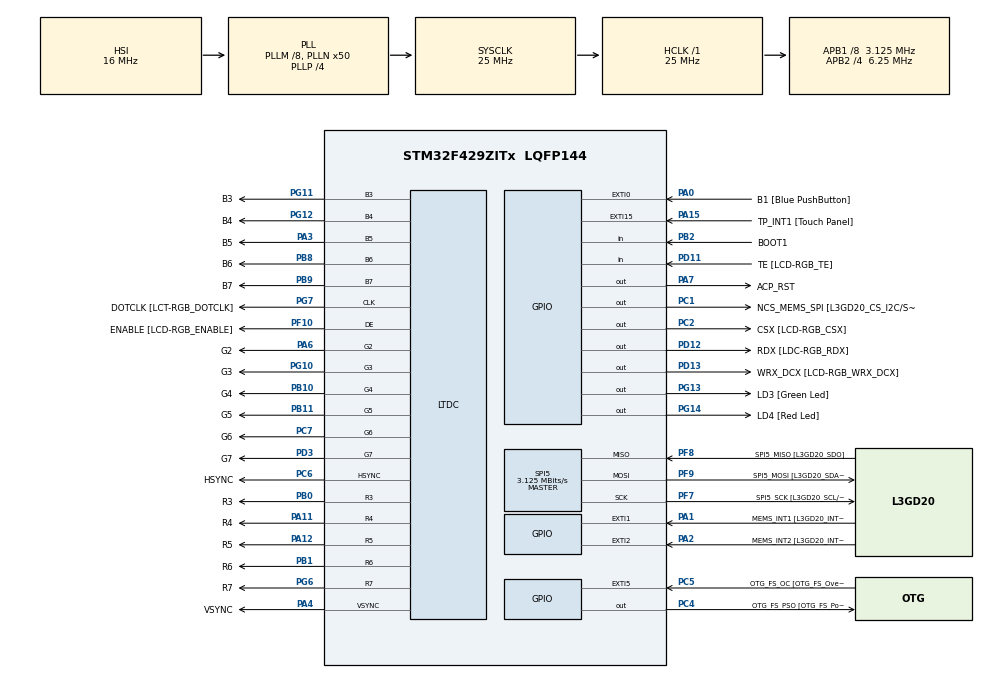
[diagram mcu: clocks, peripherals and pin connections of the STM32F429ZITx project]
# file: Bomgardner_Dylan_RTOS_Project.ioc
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FREERTOS.Tasks01=defaultTask,24,128,StartDefaultTask,Default,NULL,Dynamic,NULL,NULL
FREERTOS.configUSE_NEWLIB_REENTRANT=1
Mcu.Family=STM32F4
Mcu.Name=STM32F429ZITx
Mcu.Package=LQFP144
NVIC.HASH_RNG_IRQn=true\:5\:0\:false\:false\:true\:true\:true\:true\:true
NVIC.PriorityGroup=NVIC_PRIORITYGROUP_4
NVIC.TIM1_TRG_COM_TIM11_IRQn=true\:5\:0\:false\:false\:true\:true\:true\:true\:true
PA0/WKUP.GPIO_Label=B1 [Blue PushButton]
PA0/WKUP.GPIO_ModeDefaultEXTI=GPIO_MODE_IT_RISING_FALLING
PA0/WKUP.GPIO_PuPd=GPIO_NOPULL
PA0/WKUP.Signal=GPXTI0
PA1.GPIO_Label=MEMS_INT1 [L3GD20_INT1]
PA1.GPIO_ModeDefaultEXTI=GPIO_MODE_EVT_RISING
PA1.GPIO_PuPd=GPIO_NOPULL
PA1.Signal=GPXTI1
PA10.GPIO_Label=STLINK_TX [STM32F103CBT6_PA2]
PA10.Signal=USART1_RX
PA11.GPIO_Label=R4
PA11.GPIO_Mode=GPIO_MODE_AF_PP
PA11.GPIO_PuPd=GPIO_NOPULL
PA11.GPIO_Speed=GPIO_SPEED_FREQ_LOW
PA11.Mode=RGB565
PA11.Signal=LTDC_R4
PA12.GPIO_Label=R5
PA12.GPIO_Mode=GPIO_MODE_AF_PP
PA12.GPIO_PuPd=GPIO_NOPULL
PA12.GPIO_Speed=GPIO_SPEED_FREQ_LOW
PA12.Mode=RGB565
PA12.Signal=LTDC_R5
PA13.GPIO_Label=SWDIO
PA13.Signal=SYS_JTMS-SWDIO
PA14.GPIO_Label=SWCLK
PA14.Signal=SYS_JTCK-SWCLK
PA15.GPIO_Label=TP_INT1 [Touch Panel]
PA15.GPIO_ModeDefaultEXTI=GPIO_MODE_EVT_RISING
PA15.GPIO_PuPd=GPIO_NOPULL
PA15.Signal=GPXTI15
PA2.GPIO_Label=MEMS_INT2 [L3GD20_INT2]
PA2.GPIO_ModeDefaultEXTI=GPIO_MODE_EVT_RISING
PA2.GPIO_PuPd=GPIO_NOPULL
PA2.Signal=GPXTI2
PA3.GPIO_Label=B5
PA3.GPIO_Mode=GPIO_MODE_AF_PP
PA3.GPIO_PuPd=GPIO_NOPULL
PA3.GPIO_Speed=GPIO_SPEED_FREQ_LOW
PA3.Mode=RGB565
PA3.Signal=LTDC_B5
PA4.GPIO_Label=VSYNC
PA4.GPIO_Mode=GPIO_MODE_AF_PP
PA4.GPIO_PuPd=GPIO_NOPULL
PA4.GPIO_Speed=GPIO_SPEED_FREQ_LOW
PA4.Mode=RGB565
PA4.Signal=LTDC_VSYNC
PA6.GPIO_Label=G2
PA6.GPIO_Mode=GPIO_MODE_AF_PP
PA6.GPIO_PuPd=GPIO_NOPULL
PA6.GPIO_Speed=GPIO_SPEED_FREQ_LOW
PA6.Mode=RGB565
PA6.Signal=LTDC_G2
PA7.GPIO_Label=ACP_RST
PA7.GPIO_Mode=GPIO_MODE_OUTPUT_PP
PA7.GPIO_PuPd=GPIO_NOPULL
PA7.GPIO_Speed=GPIO_SPEED_FREQ_LOW
PA7.Signal=GPIO_Output
PA8.GPIO_Label=I2C3_SCL [ACP/RF_SCL]
PA8.GPIO_Mode=GPIO_MODE_AF_OD
PA8.GPIO_PuPd=GPIO_NOPULL
PA8.GPIO_Speed=GPIO_SPEED_FREQ_LOW
PA8.Signal=I2C3_SCL
PA9.GPIO_Label=STLINK_RX [STM32F103CBT6_PA3]
PA9.Signal=USART1_TX
PB0.GPIO_Label=R3
PB0.GPIO_Mode=GPIO_MODE_AF_PP
PB0.GPIO_PuPd=GPIO_NOPULL
PB0.GPIO_Speed=GPIO_SPEED_FREQ_LOW
PB0.Mode=RGB565
PB0.Signal=LTDC_R3
PB1.GPIO_Label=R6
PB1.GPIO_Mode=GPIO_MODE_AF_PP
PB1.GPIO_PuPd=GPIO_NOPULL
PB1.GPIO_Speed=GPIO_SPEED_FREQ_LOW
PB1.Mode=RGB565
PB1.Signal=LTDC_R6
PB10.GPIO_Label=G4
PB10.GPIO_Mode=GPIO_MODE_AF_PP
PB10.GPIO_PuPd=GPIO_NOPULL
PB10.GPIO_Speed=GPIO_SPEED_FREQ_LOW
PB10.Mode=RGB565
PB10.Signal=LTDC_G4
PB11.GPIO_Label=G5
PB11.GPIO_Mode=GPIO_MODE_AF_PP
PB11.GPIO_PuPd=GPIO_NOPULL
PB11.GPIO_Speed=GPIO_SPEED_FREQ_LOW
PB11.Mode=RGB565
PB11.Signal=LTDC_G5
PB12.GPIO_Label=OTG_HS_ID
PB12.GPIO_Mode=GPIO_MODE_AF_PP
PB12.GPIO_PuPd=GPIO_NOPULL
PB12.GPIO_Speed=GPIO_SPEED_FREQ_LOW
PB12.Signal=USB_OTG_HS_ID
PB13.GPIO_Label=VBUS_HS
PB13.GPIO_Mode=GPIO_MODE_INPUT
PB13.GPIO_PuPd=GPIO_NOPULL
PB13.Signal=USB_OTG_HS_VBUS
PB14.GPIO_Label=OTG_HS_DM
PB14.GPIO_Mode=GPIO_MODE_AF_PP
PB14.GPIO_PuPd=GPIO_NOPULL
PB14.GPIO_Speed=GPIO_SPEED_FREQ_LOW
PB14.Signal=USB_OTG_HS_DM
PB15.GPIO_Label=OTG_HS_DP
PB15.GPIO_Mode=GPIO_MODE_AF_PP
PB15.GPIO_PuPd=GPIO_NOPULL
PB15.GPIO_Speed=GPIO_SPEED_FREQ_LOW
PB15.Signal=USB_OTG_HS_DP
PB2/BOOT1.GPIO_Label=BOOT1
PB2/BOOT1.GPIO_Mode=GPIO_MODE_INPUT
PB2/BOOT1.GPIO_PuPd=GPIO_NOPULL
PB2/BOOT1.Signal=GPIO_Input
PB5.GPIO_Label=SDCKE1
PB5.GPIO_Mode=GPIO_MODE_AF_PP
PB5.GPIO_PuPd=GPIO_NOPULL
PB5.GPIO_Speed=GPIO_SPEED_FREQ_VERY_HIGH
PB5.Signal=FMC_SDCKE1
PB6.GPIO_Label=SDNE1 [SDRAM_CS]
PB6.GPIO_Mode=GPIO_MODE_AF_PP
PB6.GPIO_PuPd=GPIO_NOPULL
PB6.GPIO_Speed=GPIO_SPEED_FREQ_VERY_HIGH
PB6.Signal=FMC_SDNE1
PB8.GPIO_Label=B6
PB8.GPIO_Mode=GPIO_MODE_AF_PP
PB8.GPIO_PuPd=GPIO_NOPULL
PB8.GPIO_Speed=GPIO_SPEED_FREQ_LOW
PB8.Mode=RGB565
PB8.Signal=LTDC_B6
PB9.GPIO_Label=B7
PB9.GPIO_Mode=GPIO_MODE_AF_PP
PB9.GPIO_PuPd=GPIO_NOPULL
PB9.GPIO_Speed=GPIO_SPEED_FREQ_LOW
PB9.Mode=RGB565
PB9.Signal=LTDC_B7
PC0.GPIO_Label=SDNWE
PC0.GPIO_Mode=GPIO_MODE_AF_PP
PC0.GPIO_PuPd=GPIO_NOPULL
PC0.GPIO_Speed=GPIO_SPEED_FREQ_VERY_HIGH
PC0.Signal=FMC_SDNWE
PC1.GPIO_Label=NCS_MEMS_SPI [L3GD20_CS_I2C/SPI]
PC1.GPIO_Mode=GPIO_MODE_OUTPUT_PP
PC1.GPIO_PuPd=GPIO_NOPULL
PC1.GPIO_Speed=GPIO_SPEED_FREQ_LOW
PC1.Signal=GPIO_Output
PC10.GPIO_Label=R2
PC10.GPIO_Mode=GPIO_MODE_AF_PP
PC10.GPIO_PuPd=GPIO_NOPULL
PC10.GPIO_Speed=GPIO_SPEED_FREQ_LOW
PC10.Signal=LTDC_R2
PC14/OSC32_IN.GPIO_Label=PC14-OSC32_IN
PC14/OSC32_IN.Signal=RCC_OSC32_IN
PC15/OSC32_OUT.GPIO_Label=PC15-OSC32_OUT
PC15/OSC32_OUT.Signal=RCC_OSC32_OUT
PC2.GPIO_Label=CSX [LCD-RGB_CSX]
PC2.GPIO_Mode=GPIO_MODE_OUTPUT_PP
PC2.GPIO_PuPd=GPIO_NOPULL
PC2.GPIO_Speed=GPIO_SPEED_FREQ_LOW
PC2.Signal=GPIO_Output
PC4.GPIO_Label=OTG_FS_PSO [OTG_FS_PowerSwitchOn]
PC4.GPIO_Mode=GPIO_MODE_OUTPUT_PP
PC4.GPIO_PuPd=GPIO_NOPULL
PC4.GPIO_Speed=GPIO_SPEED_FREQ_LOW
PC4.Signal=GPIO_Output
PC5.GPIO_Label=OTG_FS_OC [OTG_FS_OverCurrent]
PC5.GPIO_ModeDefaultEXTI=GPIO_MODE_EVT_RISING
PC5.Signal=GPXTI5
PC6.GPIO_Label=HSYNC
PC6.GPIO_Mode=GPIO_MODE_AF_PP
PC6.GPIO_PuPd=GPIO_NOPULL
PC6.GPIO_Speed=GPIO_SPEED_FREQ_LOW
PC6.Mode=RGB565
PC6.Signal=LTDC_HSYNC
PC7.GPIO_Label=G6
PC7.GPIO_Mode=GPIO_MODE_AF_PP
PC7.GPIO_PuPd=GPIO_NOPULL
PC7.GPIO_Speed=GPIO_SPEED_FREQ_LOW
PC7.Mode=RGB565
PC7.Signal=LTDC_G6
PC9.GPIO_Label=I2C3_SDA [ACP/RF_SDA]
PC9.GPIO_Mode=GPIO_MODE_AF_OD
PC9.GPIO_PuPd=GPIO_NOPULL
PC9.GPIO_Speed=GPIO_SPEED_FREQ_LOW
PC9.Signal=I2C3_SDA
PD0.GPIO_Label=D2
PD0.GPIO_Mode=GPIO_MODE_AF_PP
PD0.GPIO_PuPd=GPIO_NOPULL
PD0.GPIO_Speed=GPIO_SPEED_FREQ_VERY_HIGH
PD0.Signal=FMC_D2_DA2
PD1.GPIO_Label=D3
PD1.GPIO_Mode=GPIO_MODE_AF_PP
PD1.GPIO_PuPd=GPIO_NOPULL
PD1.GPIO_Speed=GPIO_SPEED_FREQ_VERY_HIGH
PD1.Signal=FMC_D3_DA3
PD10.GPIO_Label=D15
PD10.GPIO_Mode=GPIO_MODE_AF_PP
PD10.GPIO_PuPd=GPIO_NOPULL
PD10.GPIO_Speed=GPIO_SPEED_FREQ_VERY_HIGH
PD10.Signal=FMC_D15_DA15
PD11.GPIO_Label=TE [LCD-RGB_TE]
PD11.GPIO_Mode=GPIO_MODE_INPUT
PD11.GPIO_PuPd=GPIO_NOPULL
PD11.Signal=GPIO_Input
PD12.GPIO_Label=RDX [LDC-RGB_RDX]
PD12.GPIO_Mode=GPIO_MODE_OUTPUT_PP
PD12.GPIO_PuPd=GPIO_NOPULL
PD12.GPIO_Speed=GPIO_SPEED_FREQ_LOW
PD12.Signal=GPIO_Output
PD13.GPIO_Label=WRX_DCX [LCD-RGB_WRX_DCX]
PD13.GPIO_Mode=GPIO_MODE_OUTPUT_PP
PD13.GPIO_PuPd=GPIO_NOPULL
PD13.GPIO_Speed=GPIO_SPEED_FREQ_LOW
PD13.Signal=GPIO_Output
PD14.GPIO_Label=D0
PD14.GPIO_Mode=GPIO_MODE_AF_PP
PD14.GPIO_PuPd=GPIO_NOPULL
PD14.GPIO_Speed=GPIO_SPEED_FREQ_VERY_HIGH
PD14.Signal=FMC_D0_DA0
PD15.GPIO_Label=D1
PD15.GPIO_Mode=GPIO_MODE_AF_PP
PD15.GPIO_PuPd=GPIO_NOPULL
PD15.GPIO_Speed=GPIO_SPEED_FREQ_VERY_HIGH
PD15.Signal=FMC_D1_DA1
PD3.GPIO_Label=G7
PD3.GPIO_Mode=GPIO_MODE_AF_PP
PD3.GPIO_PuPd=GPIO_NOPULL
PD3.GPIO_Speed=GPIO_SPEED_FREQ_LOW
PD3.Mode=RGB565
PD3.Signal=LTDC_G7
PD6.GPIO_Label=B2
PD6.GPIO_Mode=GPIO_MODE_AF_PP
PD6.GPIO_PuPd=GPIO_NOPULL
PD6.GPIO_Speed=GPIO_SPEED_FREQ_LOW
PD6.Signal=LTDC_B2
PD8.GPIO_Label=D13
PD8.GPIO_Mode=GPIO_MODE_AF_PP
PD8.GPIO_PuPd=GPIO_NOPULL
PD8.GPIO_Speed=GPIO_SPEED_FREQ_VERY_HIGH
PD8.Signal=FMC_D13_DA13
PD9.GPIO_Label=D14
PD9.GPIO_Mode=GPIO_MODE_AF_PP
PD9.GPIO_PuPd=GPIO_NOPULL
PD9.GPIO_Speed=GPIO_SPEED_FREQ_VERY_HIGH
PD9.Signal=FMC_D14_DA14
PE0.GPIO_Label=NBL0 [SDRAM_LDQM]
PE0.GPIO_Mode=GPIO_MODE_AF_PP
PE0.GPIO_PuPd=GPIO_NOPULL
PE0.GPIO_Speed=GPIO_SPEED_FREQ_VERY_HIGH
PE0.Signal=FMC_NBL0
PE1.GPIO_Label=NBL1 [SDRAM_UDQM]
PE1.GPIO_Mode=GPIO_MODE_AF_PP
PE1.GPIO_PuPd=GPIO_NOPULL
PE1.GPIO_Speed=GPIO_SPEED_FREQ_VERY_HIGH
PE1.Signal=FMC_NBL1
PE10.GPIO_Label=D7
PE10.GPIO_Mode=GPIO_MODE_AF_PP
PE10.GPIO_PuPd=GPIO_NOPULL
PE10.GPIO_Speed=GPIO_SPEED_FREQ_VERY_HIGH
PE10.Signal=FMC_D7_DA7
PE11.GPIO_Label=D8
PE11.GPIO_Mode=GPIO_MODE_AF_PP
PE11.GPIO_PuPd=GPIO_NOPULL
PE11.GPIO_Speed=GPIO_SPEED_FREQ_VERY_HIGH
PE11.Signal=FMC_D8_DA8
PE12.GPIO_Label=D9
PE12.GPIO_Mode=GPIO_MODE_AF_PP
PE12.GPIO_PuPd=GPIO_NOPULL
PE12.GPIO_Speed=GPIO_SPEED_FREQ_VERY_HIGH
PE12.Signal=FMC_D9_DA9
PE13.GPIO_Label=D10
PE13.GPIO_Mode=GPIO_MODE_AF_PP
PE13.GPIO_PuPd=GPIO_NOPULL
PE13.GPIO_Speed=GPIO_SPEED_FREQ_VERY_HIGH
PE13.Signal=FMC_D10_DA10
PE14.GPIO_Label=D11
PE14.GPIO_Mode=GPIO_MODE_AF_PP
PE14.GPIO_PuPd=GPIO_NOPULL
PE14.GPIO_Speed=GPIO_SPEED_FREQ_VERY_HIGH
PE14.Signal=FMC_D11_DA11
PE15.GPIO_Label=D12
PE15.GPIO_Mode=GPIO_MODE_AF_PP
PE15.GPIO_PuPd=GPIO_NOPULL
PE15.GPIO_Speed=GPIO_SPEED_FREQ_VERY_HIGH
PE15.Signal=FMC_D12_DA12
PE7.GPIO_Label=D4
PE7.GPIO_Mode=GPIO_MODE_AF_PP
PE7.GPIO_PuPd=GPIO_NOPULL
PE7.GPIO_Speed=GPIO_SPEED_FREQ_VERY_HIGH
PE7.Signal=FMC_D4_DA4
PE8.GPIO_Label=D5
PE8.GPIO_Mode=GPIO_MODE_AF_PP
PE8.GPIO_PuPd=GPIO_NOPULL
PE8.GPIO_Speed=GPIO_SPEED_FREQ_VERY_HIGH
PE8.Signal=FMC_D5_DA5
PE9.GPIO_Label=D6
PE9.GPIO_Mode=GPIO_MODE_AF_PP
PE9.GPIO_PuPd=GPIO_NOPULL
PE9.GPIO_Speed=GPIO_SPEED_FREQ_VERY_HIGH
PE9.Signal=FMC_D6_DA6
PF0.GPIO_Label=A0
PF0.GPIO_Mode=GPIO_MODE_AF_PP
PF0.GPIO_PuPd=GPIO_NOPULL
PF0.GPIO_Speed=GPIO_SPEED_FREQ_VERY_HIGH
PF0.Signal=FMC_A0
PF1.GPIO_Label=A1
PF1.GPIO_Mode=GPIO_MODE_AF_PP
PF1.GPIO_PuPd=GPIO_NOPULL
PF1.GPIO_Speed=GPIO_SPEED_FREQ_VERY_HIGH
PF1.Signal=FMC_A1
PF10.GPIO_Label=ENABLE [LCD-RGB_ENABLE]
PF10.GPIO_Mode=GPIO_MODE_AF_PP
PF10.GPIO_PuPd=GPIO_NOPULL
PF10.GPIO_Speed=GPIO_SPEED_FREQ_LOW
PF10.Mode=RGB565
PF10.Signal=LTDC_DE
PF11.GPIO_Label=SDNRAS
PF11.GPIO_Mode=GPIO_MODE_AF_PP
PF11.GPIO_PuPd=GPIO_NOPULL
PF11.GPIO_Speed=GPIO_SPEED_FREQ_VERY_HIGH
PF11.Signal=FMC_SDNRAS
PF12.GPIO_Label=A6
PF12.GPIO_Mode=GPIO_MODE_AF_PP
PF12.GPIO_PuPd=GPIO_NOPULL
PF12.GPIO_Speed=GPIO_SPEED_FREQ_VERY_HIGH
PF12.Signal=FMC_A6
PF13.GPIO_Label=A7
PF13.GPIO_Mode=GPIO_MODE_AF_PP
PF13.GPIO_PuPd=GPIO_NOPULL
PF13.GPIO_Speed=GPIO_SPEED_FREQ_VERY_HIGH
PF13.Signal=FMC_A7
PF14.GPIO_Label=A8
PF14.GPIO_Mode=GPIO_MODE_AF_PP
PF14.GPIO_PuPd=GPIO_NOPULL
PF14.GPIO_Speed=GPIO_SPEED_FREQ_VERY_HIGH
PF14.Signal=FMC_A8
PF15.GPIO_Label=A9
PF15.GPIO_Mode=GPIO_MODE_AF_PP
PF15.GPIO_PuPd=GPIO_NOPULL
PF15.GPIO_Speed=GPIO_SPEED_FREQ_VERY_HIGH
PF15.Signal=FMC_A9
PF2.GPIO_Label=A2
PF2.GPIO_Mode=GPIO_MODE_AF_PP
PF2.GPIO_PuPd=GPIO_NOPULL
PF2.GPIO_Speed=GPIO_SPEED_FREQ_VERY_HIGH
PF2.Signal=FMC_A2
PF3.GPIO_Label=A3
PF3.GPIO_Mode=GPIO_MODE_AF_PP
PF3.GPIO_PuPd=GPIO_NOPULL
PF3.GPIO_Speed=GPIO_SPEED_FREQ_VERY_HIGH
PF3.Signal=FMC_A3
PF4.GPIO_Label=A4
PF4.GPIO_Mode=GPIO_MODE_AF_PP
PF4.GPIO_PuPd=GPIO_NOPULL
PF4.GPIO_Speed=GPIO_SPEED_FREQ_VERY_HIGH
PF4.Signal=FMC_A4
PF5.GPIO_Label=A5
PF5.GPIO_Mode=GPIO_MODE_AF_PP
PF5.GPIO_PuPd=GPIO_NOPULL
PF5.GPIO_Speed=GPIO_SPEED_FREQ_VERY_HIGH
PF5.Signal=FMC_A5
PF7.GPIO_Label=SPI5_SCK [L3GD20_SCL/SPC]
PF7.GPIO_Mode=GPIO_MODE_AF_PP
PF7.GPIO_PuPd=GPIO_NOPULL
PF7.GPIO_Speed=GPIO_SPEED_FREQ_LOW
PF7.Mode=Full_Duplex_Master
PF7.Signal=SPI5_SCK
PF8.GPIO_Label=SPI5_MISO [L3GD20_SDO]
PF8.GPIO_Mode=GPIO_MODE_AF_PP
PF8.GPIO_PuPd=GPIO_NOPULL
PF8.GPIO_Speed=GPIO_SPEED_FREQ_LOW
PF8.Mode=Full_Duplex_Master
PF8.Signal=SPI5_MISO
PF9.GPIO_Label=SPI5_MOSI [L3GD20_SDA/SDI/SDO]
PF9.GPIO_Mode=GPIO_MODE_AF_PP
PF9.GPIO_PuPd=GPIO_NOPULL
PF9.GPIO_Speed=GPIO_SPEED_FREQ_LOW
PF9.Mode=Full_Duplex_Master
PF9.Signal=SPI5_MOSI
PG0.GPIO_Label=A10
PG0.GPIO_Mode=GPIO_MODE_AF_PP
PG0.GPIO_PuPd=GPIO_NOPULL
PG0.GPIO_Speed=GPIO_SPEED_FREQ_VERY_HIGH
PG0.Signal=FMC_A10
PG1.GPIO_Label=A11
PG1.GPIO_Mode=GPIO_MODE_AF_PP
PG1.GPIO_PuPd=GPIO_NOPULL
PG1.GPIO_Speed=GPIO_SPEED_FREQ_VERY_HIGH
PG1.Signal=FMC_A11
PG10.GPIO_Label=G3
PG10.GPIO_Mode=GPIO_MODE_AF_PP
PG10.GPIO_PuPd=GPIO_NOPULL
PG10.GPIO_Speed=GPIO_SPEED_FREQ_LOW
PG10.Mode=RGB565
PG10.Signal=LTDC_G3
PG11.GPIO_Label=B3
PG11.GPIO_Mode=GPIO_MODE_AF_PP
PG11.GPIO_PuPd=GPIO_NOPULL
PG11.GPIO_Speed=GPIO_SPEED_FREQ_LOW
PG11.Mode=RGB565
PG11.Signal=LTDC_B3
PG12.GPIO_Label=B4
PG12.GPIO_Mode=GPIO_MODE_AF_PP
PG12.GPIO_PuPd=GPIO_NOPULL
PG12.GPIO_Speed=GPIO_SPEED_FREQ_LOW
PG12.Mode=RGB565
PG12.Signal=LTDC_B4
PG13.GPIO_Label=LD3 [Green Led]
PG13.GPIO_Mode=GPIO_MODE_OUTPUT_PP
PG13.GPIO_PuPd=GPIO_NOPULL
PG13.GPIO_Speed=GPIO_SPEED_FREQ_LOW
PG13.Signal=GPIO_Output
PG14.GPIO_Label=LD4 [Red Led]
PG14.GPIO_Mode=GPIO_MODE_OUTPUT_PP
PG14.GPIO_PuPd=GPIO_NOPULL
PG14.GPIO_Speed=GPIO_SPEED_FREQ_LOW
PG14.Signal=GPIO_Output
PG15.GPIO_Label=SDNCAS
PG15.GPIO_Mode=GPIO_MODE_AF_PP
PG15.GPIO_PuPd=GPIO_NOPULL
PG15.GPIO_Speed=GPIO_SPEED_FREQ_VERY_HIGH
PG15.Signal=FMC_SDNCAS
PG4.GPIO_Label=BA0
PG4.GPIO_Mode=GPIO_MODE_AF_PP
PG4.GPIO_PuPd=GPIO_NOPULL
PG4.GPIO_Speed=GPIO_SPEED_FREQ_VERY_HIGH
PG4.Signal=FMC_A14_BA0
PG5.GPIO_Label=BA1
PG5.GPIO_Mode=GPIO_MODE_AF_PP
PG5.GPIO_PuPd=GPIO_NOPULL
PG5.GPIO_Speed=GPIO_SPEED_FREQ_VERY_HIGH
PG5.Signal=FMC_A15_BA1
PG6.GPIO_Label=R7
PG6.GPIO_Mode=GPIO_MODE_AF_PP
PG6.GPIO_PuPd=GPIO_NOPULL
PG6.GPIO_Speed=GPIO_SPEED_FREQ_LOW
PG6.Mode=RGB565
PG6.Signal=LTDC_R7
PG7.GPIO_Label=DOTCLK [LCT-RGB_DOTCLK]
PG7.GPIO_Mode=GPIO_MODE_AF_PP
PG7.GPIO_PuPd=GPIO_NOPULL
PG7.GPIO_Speed=GPIO_SPEED_FREQ_LOW
PG7.Mode=RGB565
PG7.Signal=LTDC_CLK
PG8.GPIO_Label=SDCLK
PG8.GPIO_Mode=GPIO_MODE_AF_PP
PG8.GPIO_PuPd=GPIO_NOPULL
PG8.GPIO_Speed=GPIO_SPEED_FREQ_VERY_HIGH
PG8.Signal=FMC_SDCLK
PH0/OSC_IN.GPIO_Label=PH0-OSC_IN
PH0/OSC_IN.Signal=RCC_OSC_IN
PH1/OSC_OUT.GPIO_Label=PH1-OSC_OUT
PH1/OSC_OUT.Signal=RCC_OSC_OUT
ProjectManager.HeapSize=0x200
ProjectManager.StackSize=0x400
ProjectManager.TargetToolchain=STM32CubeIDE
RCC.48MHZClocksFreq_Value=14285714.285714285
RCC.AHBFreq_Value=25000000
RCC.APB1CLKDivider=RCC_HCLK_DIV8
RCC.APB1Freq_Value=3125000
RCC.APB1TimFreq_Value=6250000
RCC.APB2CLKDivider=RCC_HCLK_DIV4
RCC.APB2Freq_Value=6250000
RCC.APB2TimFreq_Value=12500000
RCC.CortexFreq_Value=25000000
RCC.HCLKFreq_Value=25000000
RCC.HSE_VALUE=8000000
RCC.HSI_VALUE=16000000
RCC.LSE_VALUE=32768
RCC.PLLM=8
RCC.PLLN=50
RCC.PLLP=RCC_PLLP_DIV4
RCC.PLLQ=7
RCC.PLLSAIN=50
RCC.SYSCLKFreq_VALUE=25000000
RCC.SYSCLKSource=RCC_SYSCLKSOURCE_PLLCLK
RCC.VCOOutputFreq_Value=100000000
SH.FMC_A0.0=FMC_A0
SH.FMC_A1.0=FMC_A1
SH.FMC_A10.0=FMC_A10
SH.FMC_A11.0=FMC_A11
SH.FMC_A14_BA0.0=FMC_BA0
SH.FMC_A15_BA1.0=FMC_BA1
SH.FMC_A2.0=FMC_A2
SH.FMC_A3.0=FMC_A3
SH.FMC_A4.0=FMC_A4
SH.FMC_A5.0=FMC_A5
SH.FMC_A6.0=FMC_A6
SH.FMC_A7.0=FMC_A7
SH.FMC_A8.0=FMC_A8
SH.FMC_A9.0=FMC_A9
SH.FMC_D0_DA0.0=FMC_D0
SH.FMC_D10_DA10.0=FMC_D10
SH.FMC_D11_DA11.0=FMC_D11
SH.FMC_D12_DA12.0=FMC_D12
SH.FMC_D13_DA13.0=FMC_D13
SH.FMC_D14_DA14.0=FMC_D14
SH.FMC_D15_DA15.0=FMC_D15
SH.FMC_D1_DA1.0=FMC_D1
SH.FMC_D2_DA2.0=FMC_D2
SH.FMC_D3_DA3.0=FMC_D3
SH.FMC_D4_DA4.0=FMC_D4
SH.FMC_D5_DA5.0=FMC_D5
SH.FMC_D6_DA6.0=FMC_D6
SH.FMC_D7_DA7.0=FMC_D7
SH.FMC_D8_DA8.0=FMC_D8
SH.FMC_D9_DA9.0=FMC_D9
SH.FMC_NBL0.0=FMC_NBL0
SH.FMC_NBL1.0=FMC_NBL1
SH.FMC_SDCLK.0=FMC_SDCLK
SH.FMC_SDNCAS.0=FMC_SDNCAS
SH.FMC_SDNRAS.0=FMC_SDNRAS
SH.FMC_SDNWE.0=FMC_SDNWE
SPI5.CalculateBaudRate=3.125 MBits/s
SPI5.Direction=SPI_DIRECTION_2LINES
SPI5.Mode=SPI_MODE_MASTER
SPI5.VirtualType=VM_MASTER
VP_FREERTOS_VS_CMSIS_V2.Mode=CMSIS_V2
VP_RNG_VS_RNG.Mode=RNG_Activate
VP_TIM11_VS_ClockSourceINT.Mode=Enable_Timer
board=STM32F429I-DISC1

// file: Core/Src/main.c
/* USER CODE BEGIN Header */
/**
  ******************************************************************************
  * @file           : main.c
  * @brief          : Main program body
  ******************************************************************************
  * @attention
  *
  * Copyright (c) 2024 STMicroelectronics.
  * All rights reserved.
  *
  * This software is licensed under terms that can be found in the LICENSE file
  * in the root directory of this software component.
  * If no LICENSE file comes with this software, it is provided AS-IS.
  *
  ******************************************************************************
  */
/* USER CODE END Header */
#include "main.h"
#include "cmsis_os.h"

/* USER CODE BEGIN Includes */
#include "ApplicationCode.h"
#include "maze.h"
/* USER CODE END Includes */

LTDC_HandleTypeDef hltdc;

RNG_HandleTypeDef hrng;

SPI_HandleTypeDef hspi5;

TIM_HandleTypeDef htim11;

/* Definitions for defaultTask */
osThreadId_t defaultTaskHandle;
const osThreadAttr_t defaultTask_attributes = {
  .name = "defaultTask",
  .stack_size = 128 * 4,
  .priority = (osPriority_t) osPriorityNormal,
};

void SystemClock_Config(void);
static void MX_GPIO_Init(void);
static void MX_SPI5_Init(void);
static void MX_LTDC_Init(void);
static void MX_TIM11_Init(void);
static void MX_RNG_Init(void);
void StartDefaultTask(void *argument);

/* USER CODE BEGIN PFP */
void systemClockOverride(void);
/* USER CODE END PFP */

/* USER CODE BEGIN 0 */
void systemClockOverride(void)
{
  RCC_ClkInitTypeDef RCC_ClkInitStruct;
  RCC_OscInitTypeDef RCC_OscInitStruct;

  __HAL_RCC_PWR_CLK_ENABLE();

  // __HAL_PWR_VOLTAGESCALING_CONFIG(PWR_REGULATOR_VOLTAGE_SCALE1); // not needed, power scaling consumption for when not running at max freq.

  /* Enable HSE Osc and activate PLL with HSE source */
  RCC_OscInitStruct.OscillatorType = RCC_OSCILLATORTYPE_HSE;
  RCC_OscInitStruct.HSEState = RCC_HSE_ON;
  RCC_OscInitStruct.PLL.PLLState = RCC_PLL_ON;
  RCC_OscInitStruct.PLL.PLLSource = RCC_PLLSOURCE_HSE;
  RCC_OscInitStruct.PLL.PLLM = 8;
  RCC_OscInitStruct.PLL.PLLN = 336;
  RCC_OscInitStruct.PLL.PLLP = RCC_PLLP_DIV2;
  RCC_OscInitStruct.PLL.PLLQ = 7;
  HAL_RCC_OscConfig(&RCC_OscInitStruct);

  /* Select PLL as system clock source and configure the HCLK, PCLK1 and PCLK2 clocks dividers */
  RCC_ClkInitStruct.ClockType = (RCC_CLOCKTYPE_SYSCLK | RCC_CLOCKTYPE_HCLK | RCC_CLOCKTYPE_PCLK1 | RCC_CLOCKTYPE_PCLK2);
  RCC_ClkInitStruct.SYSCLKSource = RCC_SYSCLKSOURCE_PLLCLK;
  RCC_ClkInitStruct.AHBCLKDivider = RCC_SYSCLK_DIV1;
  RCC_ClkInitStruct.APB1CLKDivider = RCC_HCLK_DIV4;
  RCC_ClkInitStruct.APB2CLKDivider = RCC_HCLK_DIV2;
  HAL_RCC_ClockConfig(&RCC_ClkInitStruct, FLASH_LATENCY_5);
}
/* USER CODE END 0 */

int main(void)
{

  /* MCU Configuration--------------------------------------------------------*/

  /* Reset of all peripherals, Initializes the Flash interface and the Systick. */
  HAL_Init();

  /* Configure the system clock */
//  SystemClock_Config();

  /* USER CODE BEGIN SysInit */
  //TODO: if you ever regenerate HAL code you will need to comment out SystemClock_Config() again located above this comment
  systemClockOverride();

  /* USER CODE END SysInit */

  /* Initialize all configured peripherals */
  MX_GPIO_Init();
  MX_SPI5_Init();
  MX_LTDC_Init();
  MX_TIM11_Init();
  MX_RNG_Init();
  /* USER CODE BEGIN 2 */

  ApplicationInit();
  /* USER CODE END 2 */

  /* Init scheduler */
  osKernelInitialize();

  /* USER CODE BEGIN RTOS_MUTEX */
  /* add mutexes, ... */
  itc_init();
  /* USER CODE END RTOS_MUTEX */

  /* Create the thread(s) */
  /* creation of defaultTask */
  defaultTaskHandle = osThreadNew(StartDefaultTask, NULL, &defaultTask_attributes);

  /* USER CODE BEGIN RTOS_THREADS */
  /* add threads, ... */
  HAL_NVIC_EnableIRQ(EXTI0_IRQn);
  HAL_NVIC_SetPriority(EXTI0_IRQn, 13, 13);

  HAL_NVIC_EnableIRQ(TIM1_TRG_COM_TIM11_IRQn);
 // HAL_NVIC_SetPriority(EXTI0_IRQn, 13, 13);
  /* USER CODE END RTOS_THREADS */

  /* USER CODE BEGIN RTOS_EVENTS */
  /* add events, ... */
  traceSTART();
  /* USER CODE END RTOS_EVENTS */

  /* Start scheduler */
  osKernelStart();

  /* We should never get here as control is now taken by the scheduler */

  /* Infinite loop */
  while (1)
  {

  }
}

void SystemClock_Config(void)
{
  RCC_OscInitTypeDef RCC_OscInitStruct = {0};
  RCC_ClkInitTypeDef RCC_ClkInitStruct = {0};

  /** Configure the main internal regulator output voltage
  */
  __HAL_RCC_PWR_CLK_ENABLE();
  __HAL_PWR_VOLTAGESCALING_CONFIG(PWR_REGULATOR_VOLTAGE_SCALE3);

  /** Initializes the RCC Oscillators according to the specified parameters
  * in the RCC_OscInitTypeDef structure.
  */
  RCC_OscInitStruct.OscillatorType = RCC_OSCILLATORTYPE_HSI;
  RCC_OscInitStruct.HSIState = RCC_HSI_ON;
  RCC_OscInitStruct.HSICalibrationValue = RCC_HSICALIBRATION_DEFAULT;
  RCC_OscInitStruct.PLL.PLLState = RCC_PLL_ON;
  RCC_OscInitStruct.PLL.PLLSource = RCC_PLLSOURCE_HSI;
  RCC_OscInitStruct.PLL.PLLM = 8;
  RCC_OscInitStruct.PLL.PLLN = 50;
  RCC_OscInitStruct.PLL.PLLP = RCC_PLLP_DIV4;
  RCC_OscInitStruct.PLL.PLLQ = 7;
  if (HAL_RCC_OscConfig(&RCC_OscInitStruct) != HAL_OK)
  {
    Error_Handler();
  }

  /** Initializes the CPU, AHB and APB buses clocks
  */
  RCC_ClkInitStruct.ClockType = RCC_CLOCKTYPE_HCLK|RCC_CLOCKTYPE_SYSCLK
                              |RCC_CLOCKTYPE_PCLK1|RCC_CLOCKTYPE_PCLK2;
  RCC_ClkInitStruct.SYSCLKSource = RCC_SYSCLKSOURCE_PLLCLK;
  RCC_ClkInitStruct.AHBCLKDivider = RCC_SYSCLK_DIV1;
  RCC_ClkInitStruct.APB1CLKDivider = RCC_HCLK_DIV8;
  RCC_ClkInitStruct.APB2CLKDivider = RCC_HCLK_DIV4;

  if (HAL_RCC_ClockConfig(&RCC_ClkInitStruct, FLASH_LATENCY_0) != HAL_OK)
  {
    Error_Handler();
  }
}

static void MX_LTDC_Init(void)
{

  LTDC_LayerCfgTypeDef pLayerCfg = {0};
  LTDC_LayerCfgTypeDef pLayerCfg1 = {0};

  hltdc.Instance = LTDC;
  hltdc.Init.HSPolarity = LTDC_HSPOLARITY_AL;
  hltdc.Init.VSPolarity = LTDC_VSPOLARITY_AL;
  hltdc.Init.DEPolarity = LTDC_DEPOLARITY_AL;
  hltdc.Init.PCPolarity = LTDC_PCPOLARITY_IPC;
  hltdc.Init.HorizontalSync = 7;
  hltdc.Init.VerticalSync = 3;
  hltdc.Init.AccumulatedHBP = 14;
  hltdc.Init.AccumulatedVBP = 5;
  hltdc.Init.AccumulatedActiveW = 654;
  hltdc.Init.AccumulatedActiveH = 485;
  hltdc.Init.TotalWidth = 660;
  hltdc.Init.TotalHeigh = 487;
  hltdc.Init.Backcolor.Blue = 0;
  hltdc.Init.Backcolor.Green = 0;
  hltdc.Init.Backcolor.Red = 0;
  if (HAL_LTDC_Init(&hltdc) != HAL_OK)
  {
    Error_Handler();
  }
  pLayerCfg.WindowX0 = 0;
  pLayerCfg.WindowX1 = 0;
  pLayerCfg.WindowY0 = 0;
  pLayerCfg.WindowY1 = 0;
  pLayerCfg.PixelFormat = LTDC_PIXEL_FORMAT_ARGB8888;
  pLayerCfg.Alpha = 0;
  pLayerCfg.Alpha0 = 0;
  pLayerCfg.BlendingFactor1 = LTDC_BLENDING_FACTOR1_CA;
  pLayerCfg.BlendingFactor2 = LTDC_BLENDING_FACTOR2_CA;
  pLayerCfg.FBStartAdress = 0;
  pLayerCfg.ImageWidth = 0;
  pLayerCfg.ImageHeight = 0;
  pLayerCfg.Backcolor.Blue = 0;
  pLayerCfg.Backcolor.Green = 0;
  pLayerCfg.Backcolor.Red = 0;
  if (HAL_LTDC_ConfigLayer(&hltdc, &pLayerCfg, 0) != HAL_OK)
  {
    Error_Handler();
  }
  pLayerCfg1.WindowX0 = 0;
  pLayerCfg1.WindowX1 = 0;
  pLayerCfg1.WindowY0 = 0;
  pLayerCfg1.WindowY1 = 0;
  pLayerCfg1.PixelFormat = LTDC_PIXEL_FORMAT_ARGB8888;
  pLayerCfg1.Alpha = 0;
  pLayerCfg1.Alpha0 = 0;
  pLayerCfg1.BlendingFactor1 = LTDC_BLENDING_FACTOR1_CA;
  pLayerCfg1.BlendingFactor2 = LTDC_BLENDING_FACTOR2_CA;
  pLayerCfg1.FBStartAdress = 0;
  pLayerCfg1.ImageWidth = 0;
  pLayerCfg1.ImageHeight = 0;
  pLayerCfg1.Backcolor.Blue = 0;
  pLayerCfg1.Backcolor.Green = 0;
  pLayerCfg1.Backcolor.Red = 0;
  if (HAL_LTDC_ConfigLayer(&hltdc, &pLayerCfg1, 1) != HAL_OK)
  {
    Error_Handler();
  }

}

static void MX_RNG_Init(void)
{

  hrng.Instance = RNG;
  if (HAL_RNG_Init(&hrng) != HAL_OK)
  {
    Error_Handler();
  }

}

static void MX_SPI5_Init(void)
{

  /* SPI5 parameter configuration*/
  hspi5.Instance = SPI5;
  hspi5.Init.Mode = SPI_MODE_MASTER;
  hspi5.Init.Direction = SPI_DIRECTION_2LINES;
  hspi5.Init.DataSize = SPI_DATASIZE_8BIT;
  hspi5.Init.CLKPolarity = SPI_POLARITY_LOW;
  hspi5.Init.CLKPhase = SPI_PHASE_1EDGE;
  hspi5.Init.NSS = SPI_NSS_SOFT;
  hspi5.Init.BaudRatePrescaler = SPI_BAUDRATEPRESCALER_2;
  hspi5.Init.FirstBit = SPI_FIRSTBIT_MSB;
  hspi5.Init.TIMode = SPI_TIMODE_DISABLE;
  hspi5.Init.CRCCalculation = SPI_CRCCALCULATION_DISABLE;
  hspi5.Init.CRCPolynomial = 10;
  if (HAL_SPI_Init(&hspi5) != HAL_OK)
  {
    Error_Handler();
  }

}

static void MX_TIM11_Init(void)
{

  htim11.Instance = TIM11;
  htim11.Init.Prescaler = 0;
  htim11.Init.CounterMode = TIM_COUNTERMODE_UP;
  htim11.Init.Period = 65535;
  htim11.Init.ClockDivision = TIM_CLOCKDIVISION_DIV1;
  htim11.Init.AutoReloadPreload = TIM_AUTORELOAD_PRELOAD_DISABLE;
  if (HAL_TIM_Base_Init(&htim11) != HAL_OK)
  {
    Error_Handler();
  }

}

static void MX_GPIO_Init(void)
{
  GPIO_InitTypeDef GPIO_InitStruct = {0};

  /* GPIO Ports Clock Enable */
  __HAL_RCC_GPIOC_CLK_ENABLE();
  __HAL_RCC_GPIOF_CLK_ENABLE();
  __HAL_RCC_GPIOH_CLK_ENABLE();
  __HAL_RCC_GPIOA_CLK_ENABLE();
  __HAL_RCC_GPIOB_CLK_ENABLE();
  __HAL_RCC_GPIOG_CLK_ENABLE();
  __HAL_RCC_GPIOE_CLK_ENABLE();
  __HAL_RCC_GPIOD_CLK_ENABLE();

  /*Configure GPIO pin Output Level */
  HAL_GPIO_WritePin(GPIOC, NCS_MEMS_SPI_Pin|CSX_Pin|OTG_FS_PSO_Pin, GPIO_PIN_RESET);

  /*Configure GPIO pin Output Level */
  HAL_GPIO_WritePin(ACP_RST_GPIO_Port, ACP_RST_Pin, GPIO_PIN_RESET);

  /*Configure GPIO pin Output Level */
  HAL_GPIO_WritePin(GPIOD, RDX_Pin|WRX_DCX_Pin, GPIO_PIN_RESET);

  /*Configure GPIO pin Output Level */
  HAL_GPIO_WritePin(GPIOG, LD3_Pin|LD4_Pin, GPIO_PIN_RESET);

  /*Configure GPIO pins : A0_Pin A1_Pin A2_Pin A3_Pin
                           A4_Pin A5_Pin SDNRAS_Pin A6_Pin
                           A7_Pin A8_Pin A9_Pin */
  GPIO_InitStruct.Pin = A0_Pin|A1_Pin|A2_Pin|A3_Pin
                          |A4_Pin|A5_Pin|SDNRAS_Pin|A6_Pin
                          |A7_Pin|A8_Pin|A9_Pin;
  GPIO_InitStruct.Mode = GPIO_MODE_AF_PP;
  GPIO_InitStruct.Pull = GPIO_NOPULL;
  GPIO_InitStruct.Speed = GPIO_SPEED_FREQ_VERY_HIGH;
  GPIO_InitStruct.Alternate = GPIO_AF12_FMC;
  HAL_GPIO_Init(GPIOF, &GPIO_InitStruct);

  /*Configure GPIO pin : SDNWE_Pin */
  GPIO_InitStruct.Pin = SDNWE_Pin;
  GPIO_InitStruct.Mode = GPIO_MODE_AF_PP;
  GPIO_InitStruct.Pull = GPIO_NOPULL;
  GPIO_InitStruct.Speed = GPIO_SPEED_FREQ_VERY_HIGH;
  GPIO_InitStruct.Alternate = GPIO_AF12_FMC;
  HAL_GPIO_Init(SDNWE_GPIO_Port, &GPIO_InitStruct);

  /*Configure GPIO pins : NCS_MEMS_SPI_Pin CSX_Pin OTG_FS_PSO_Pin */
  GPIO_InitStruct.Pin = NCS_MEMS_SPI_Pin|CSX_Pin|OTG_FS_PSO_Pin;
  GPIO_InitStruct.Mode = GPIO_MODE_OUTPUT_PP;
  GPIO_InitStruct.Pull = GPIO_NOPULL;
  GPIO_InitStruct.Speed = GPIO_SPEED_FREQ_LOW;
  HAL_GPIO_Init(GPIOC, &GPIO_InitStruct);

  /*Configure GPIO pin : B1_Pin */
  GPIO_InitStruct.Pin = B1_Pin;
  GPIO_InitStruct.Mode = GPIO_MODE_IT_RISING_FALLING;
  GPIO_InitStruct.Pull = GPIO_NOPULL;
  HAL_GPIO_Init(B1_GPIO_Port, &GPIO_InitStruct);

  /*Configure GPIO pins : MEMS_INT1_Pin MEMS_INT2_Pin TP_INT1_Pin */
  GPIO_InitStruct.Pin = MEMS_INT1_Pin|MEMS_INT2_Pin|TP_INT1_Pin;
  GPIO_InitStruct.Mode = GPIO_MODE_EVT_RISING;
  GPIO_InitStruct.Pull = GPIO_NOPULL;
  HAL_GPIO_Init(GPIOA, &GPIO_InitStruct);

  /*Configure GPIO pin : ACP_RST_Pin */
  GPIO_InitStruct.Pin = ACP_RST_Pin;
  GPIO_InitStruct.Mode = GPIO_MODE_OUTPUT_PP;
  GPIO_InitStruct.Pull = GPIO_NOPULL;
  GPIO_InitStruct.Speed = GPIO_SPEED_FREQ_LOW;
  HAL_GPIO_Init(ACP_RST_GPIO_Port, &GPIO_InitStruct);

  /*Configure GPIO pin : OTG_FS_OC_Pin */
  GPIO_InitStruct.Pin = OTG_FS_OC_Pin;
  GPIO_InitStruct.Mode = GPIO_MODE_EVT_RISING;
  GPIO_InitStruct.Pull = GPIO_NOPULL;
  HAL_GPIO_Init(OTG_FS_OC_GPIO_Port, &GPIO_InitStruct);

  /*Configure GPIO pin : BOOT1_Pin */
  GPIO_InitStruct.Pin = BOOT1_Pin;
  GPIO_InitStruct.Mode = GPIO_MODE_INPUT;
  GPIO_InitStruct.Pull = GPIO_NOPULL;
  HAL_GPIO_Init(BOOT1_GPIO_Port, &GPIO_InitStruct);

  /*Configure GPIO pins : A10_Pin A11_Pin BA0_Pin BA1_Pin
                           SDCLK_Pin SDNCAS_Pin */
  GPIO_InitStruct.Pin = A10_Pin|A11_Pin|BA0_Pin|BA1_Pin
                          |SDCLK_Pin|SDNCAS_Pin;
  GPIO_InitStruct.Mode = GPIO_MODE_AF_PP;
  GPIO_InitStruct.Pull = GPIO_NOPULL;
  GPIO_InitStruct.Speed = GPIO_SPEED_FREQ_VERY_HIGH;
  GPIO_InitStruct.Alternate = GPIO_AF12_FMC;
  HAL_GPIO_Init(GPIOG, &GPIO_InitStruct);

  /*Configure GPIO pins : D4_Pin D5_Pin D6_Pin D7_Pin
                           D8_Pin D9_Pin D10_Pin D11_Pin
                           D12_Pin NBL0_Pin NBL1_Pin */
  GPIO_InitStruct.Pin = D4_Pin|D5_Pin|D6_Pin|D7_Pin
                          |D8_Pin|D9_Pin|D10_Pin|D11_Pin
                          |D12_Pin|NBL0_Pin|NBL1_Pin;
  GPIO_InitStruct.Mode = GPIO_MODE_AF_PP;
  GPIO_InitStruct.Pull = GPIO_NOPULL;
  GPIO_InitStruct.Speed = GPIO_SPEED_FREQ_VERY_HIGH;
  GPIO_InitStruct.Alternate = GPIO_AF12_FMC;
  HAL_GPIO_Init(GPIOE, &GPIO_InitStruct);

  /*Configure GPIO pins : OTG_HS_ID_Pin OTG_HS_DM_Pin OTG_HS_DP_Pin */
  GPIO_InitStruct.Pin = OTG_HS_ID_Pin|OTG_HS_DM_Pin|OTG_HS_DP_Pin;
  GPIO_InitStruct.Mode = GPIO_MODE_AF_PP;
  GPIO_InitStruct.Pull = GPIO_NOPULL;
  GPIO_InitStruct.Speed = GPIO_SPEED_FREQ_LOW;
  GPIO_InitStruct.Alternate = GPIO_AF12_OTG_HS_FS;
  HAL_GPIO_Init(GPIOB, &GPIO_InitStruct);

  /*Configure GPIO pin : VBUS_HS_Pin */
  GPIO_InitStruct.Pin = VBUS_HS_Pin;
  GPIO_InitStruct.Mode = GPIO_MODE_INPUT;
  GPIO_InitStruct.Pull = GPIO_NOPULL;
  HAL_GPIO_Init(VBUS_HS_GPIO_Port, &GPIO_InitStruct);

  /*Configure GPIO pins : D13_Pin D14_Pin D15_Pin D0_Pin
                           D1_Pin D2_Pin D3_Pin */
  GPIO_InitStruct.Pin = D13_Pin|D14_Pin|D15_Pin|D0_Pin
                          |D1_Pin|D2_Pin|D3_Pin;
  GPIO_InitStruct.Mode = GPIO_MODE_AF_PP;
  GPIO_InitStruct.Pull = GPIO_NOPULL;
  GPIO_InitStruct.Speed = GPIO_SPEED_FREQ_VERY_HIGH;
  GPIO_InitStruct.Alternate = GPIO_AF12_FMC;
  HAL_GPIO_Init(GPIOD, &GPIO_InitStruct);

  /*Configure GPIO pin : TE_Pin */
  GPIO_InitStruct.Pin = TE_Pin;
  GPIO_InitStruct.Mode = GPIO_MODE_INPUT;
  GPIO_InitStruct.Pull = GPIO_NOPULL;
  HAL_GPIO_Init(TE_GPIO_Port, &GPIO_InitStruct);

  /*Configure GPIO pins : RDX_Pin WRX_DCX_Pin */
  GPIO_InitStruct.Pin = RDX_Pin|WRX_DCX_Pin;
  GPIO_InitStruct.Mode = GPIO_MODE_OUTPUT_PP;
  GPIO_InitStruct.Pull = GPIO_NOPULL;
  GPIO_InitStruct.Speed = GPIO_SPEED_FREQ_LOW;
  HAL_GPIO_Init(GPIOD, &GPIO_InitStruct);

  /*Configure GPIO pin : I2C3_SDA_Pin */
  GPIO_InitStruct.Pin = I2C3_SDA_Pin;
  GPIO_InitStruct.Mode = GPIO_MODE_AF_OD;
  GPIO_InitStruct.Pull = GPIO_NOPULL;
  GPIO_InitStruct.Speed = GPIO_SPEED_FREQ_LOW;
  GPIO_InitStruct.Alternate = GPIO_AF4_I2C3;
  HAL_GPIO_Init(I2C3_SDA_GPIO_Port, &GPIO_InitStruct);

  /*Configure GPIO pin : I2C3_SCL_Pin */
  GPIO_InitStruct.Pin = I2C3_SCL_Pin;
  GPIO_InitStruct.Mode = GPIO_MODE_AF_OD;
  GPIO_InitStruct.Pull = GPIO_NOPULL;
  GPIO_InitStruct.Speed = GPIO_SPEED_FREQ_LOW;
  GPIO_InitStruct.Alternate = GPIO_AF4_I2C3;
  HAL_GPIO_Init(I2C3_SCL_GPIO_Port, &GPIO_InitStruct);

  /*Configure GPIO pins : STLINK_RX_Pin STLINK_TX_Pin */
  GPIO_InitStruct.Pin = STLINK_RX_Pin|STLINK_TX_Pin;
  GPIO_InitStruct.Mode = GPIO_MODE_AF_PP;
  GPIO_InitStruct.Pull = GPIO_NOPULL;
  GPIO_InitStruct.Speed = GPIO_SPEED_FREQ_VERY_HIGH;
  GPIO_InitStruct.Alternate = GPIO_AF7_USART1;
  HAL_GPIO_Init(GPIOA, &GPIO_InitStruct);

  /*Configure GPIO pins : LD3_Pin LD4_Pin */
  GPIO_InitStruct.Pin = LD3_Pin|LD4_Pin;
  GPIO_InitStruct.Mode = GPIO_MODE_OUTPUT_PP;
  GPIO_InitStruct.Pull = GPIO_NOPULL;
  GPIO_InitStruct.Speed = GPIO_SPEED_FREQ_LOW;
  HAL_GPIO_Init(GPIOG, &GPIO_InitStruct);

  /*Configure GPIO pins : SDCKE1_Pin SDNE1_Pin */
  GPIO_InitStruct.Pin = SDCKE1_Pin|SDNE1_Pin;
  GPIO_InitStruct.Mode = GPIO_MODE_AF_PP;
  GPIO_InitStruct.Pull = GPIO_NOPULL;
  GPIO_InitStruct.Speed = GPIO_SPEED_FREQ_VERY_HIGH;
  GPIO_InitStruct.Alternate = GPIO_AF12_FMC;
  HAL_GPIO_Init(GPIOB, &GPIO_InitStruct);

}

void StartDefaultTask(void *argument)
{
  /* USER CODE BEGIN 5 */
  /* Infinite loop */
  for(;;)
  {
	//RunDemoForLCD();
    osDelay(10000);
  }
  /* USER CODE END 5 */
}

void Error_Handler(void)
{
  __disable_irq();
  while (1)
  {
  }
}
